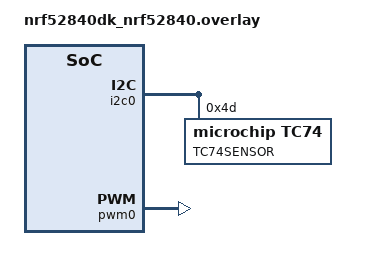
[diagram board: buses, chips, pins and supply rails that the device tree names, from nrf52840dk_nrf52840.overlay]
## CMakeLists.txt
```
cmake_minimum_required(VERSION 3.20.0)
find_package(Zephyr REQUIRED HINTS $ENV{ZEPHYR_BASE})

project(SETR_TRAB3)

target_sources(app PRIVATE
    src/main.c
    modules/tc74.c       # módulo I²C/TC74
    modules/rtdb.c       # módulo RTDB
    modules/pid.c
    modules/heater.c
    modules/uart.c
)
```

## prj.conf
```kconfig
CONFIG_GPIO=y
CONFIG_SERIAL=y
CONFIG_UART_ASYNC_API=y

# Para o TC74 / I²C
CONFIG_I2C=y
CONFIG_PRINTK=y


# Habilita o suporte a PWM
CONFIG_PWM=y
# Para teres o driver nRF PWM
CONFIG_PWM_NRFX=y

#para poder printar floats
CONFIG_NEWLIB_LIBC=y
CONFIG_NEWLIB_LIBC_FLOAT_PRINTF=y

# ----------------------------------------------------------------
# Activar o sistema de logging do Zephyr
CONFIG_LOG=y

# Nível de log por defeito:
#   0 = NONE, 1 = ERR, 2 = WRN, 3 = INF, 4 = DBG
CONFIG_LOG_DEFAULT_LEVEL=3

# Activar backend UART (imprime logs na consola série)
CONFIG_LOG_BACKEND_UART=y

# Activar cores ANSI para erros e avisos
CONFIG_LOG_BACKEND_SHOW_COLOR=y

#Ativar modo minimalista do log
#CONFIG_LOG_MODE_MINIMAL=y
# ----------------------------------------------------------------
```

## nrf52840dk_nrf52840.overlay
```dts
&i2c0 {
    status = "okay";
    pinctrl-0 = <&i2c0_default>;
    pinctrl-1 = <&i2c0_sleep>;
    pinctrl-names = "default", "sleep";

    /* Definição única do sensor; NÃO repetir fora deste bloco! */
    tc74sensor: tc74sensor@4d {
        compatible = "microchip,tc74";
        reg = <0x4d>;
        status = "okay";
        label = "TC74SENSOR";
    };
};

&pwm0 {
    status = "okay";

    /* define os dois states que o binding espera */
    pinctrl-0 = <&pwm0_default>;
    pinctrl-1 = <&pwm0_sleep>;
    pinctrl-names = "default", "sleep";
};

/*mudar o pin do pwm do 13(LED0) para o 10 (n tem nada lá ligado) */
&pwm0_default {
    phandle = < 0xd >;
    group1 {
        psels = < NRF_PSEL(PWM_OUT0, 0, 28) >;
        nordic,invert;
    };
};

/ {
    aliases {
        /* alias continua igual */
        heater-pwm = &pwm0;
    };
};
```

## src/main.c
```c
/** 
 * \file main.c
 * \brief This file contains code as well as the main program function and the threads necessary for the system.
 *
 *  In this file the nrf board drivers are initialized and programed, and the threads are set to ensue a good 
 * Real-time system.
 *
 * \author Simão Ribeiro
 * \author Celina Brito
 * \date 04/06/2025
 * \bug There are no known bugs.
 */

#include <zephyr/kernel.h>
#include <zephyr/device.h>
#include <zephyr/devicetree.h>
#include <zephyr/drivers/gpio.h>
#include <zephyr/drivers/uart.h>
#include <zephyr/sys/printk.h>
#include <zephyr/logging/log.h>
#include <stdlib.h>
#include <string.h>
/* our modules */
#include "../modules/tc74.h"
#include "../modules/rtdb.h"
#include "../modules/heater.h"
#include "../modules/pid.h"
#include "../modules/uart.h"


/* VARIABLES */
#define SLEEP_TIME_MS    1000    ///< Sleep Time
#define MAX_TEMP         120     ///< Absolute maximum temperature
#define OK               0       ///< Return if everything is alright
#define DELTAT           2       ///< Temperature tolerance
static bool table_flag = false;

/* UART RELATED VARIABLES */
#define UART_NODE              DT_NODELABEL(uart0)   ///< UART node ID
#define RBUFF_SIZE             60                    ///< Size of the reception buffer
#define RECEIVE_TIMEOUT        1000                  ///< Receive timeout
#define UART_SAMPLE_PERIOD_MS  15000                 ///< Sampling period, in miliseconds
#define UART_THREAD_STACK_SIZE 1024                  ///< Stack Size for the UART
#define UART_THREAD_PRIORITY   3                     ///< Thread Priority for UART

/* TC74 RELATED VARIABLES */
#define TC74_SAMPLE_PERIOD_MS  1000                  ///< Sampling period, in miliseconds
#define TC74_THREAD_PRIORITY   3                     ///< Thread Priority for TC74
#define TC74_THREAD_STACK_SIZE 512                  ///< Stack Size for the UART

/* TC74 RELATED VARIABLES */
#define PID_SAMPLE_PERIOD_MS  500                  ///< Sampling period, in miliseconds
#define PID_THREAD_PRIORITY   4                     ///< Thread Priority for the PID Controller
#define PID_THREAD_STACK_SIZE 512                  ///< Stack Size for the UART

/*UART Buffers*/
static uint8_t  rx_buff[RBUFF_SIZE];
static uint8_t  rx_buff2[RBUFF_SIZE];
static uint8_t  rx_msg[RBUFF_SIZE];
volatile int    uart_rxbuf_nchar = 0;             ///< Number of chars currently in the rx buffer
static const struct device *uart = DEVICE_DT_GET(UART_NODE);
bool buffer = true;                                ///< Which receive buffer is active

const struct uart_config uart_cfg = {
    .baudrate = 115200,
    .parity   = UART_CFG_PARITY_NONE,
    .stop_bits = UART_CFG_STOP_BITS_1,
    .data_bits = UART_CFG_DATA_BITS_8,
    .flow_ctrl = UART_CFG_FLOW_CTRL_NONE
};          ///< UART configuration struct


/*DEFINING MUTEXES AND THREADS*/
/** 
 * \brief function that defines the Uart Mutex
 * \param uart_mutex name for the mutex
 */ 
K_MUTEX_DEFINE(uart_mutex);
/**
 * \brief function that defines the Uart K_thread Stack
 * \param uart_stack name for the stack
 * \param UART_THREAD_STACK_SIZE size of the stack
 */ 
K_THREAD_STACK_DEFINE(uart_stack, UART_THREAD_STACK_SIZE);
static struct k_thread uart_thread_data;
static void uart_thread(void *arg1, void *arg2, void *arg3);

/* Threads for TC74 and PID control */

/** 
 * \brief function that defines the tc74 Mutex
 * \param tc74_mutex name for the mutex
 */ 
K_MUTEX_DEFINE(tc74_mutex);

/**
 * \brief function that defines the tc74 K_thread Stack
 * \param tc74_stack name for the stack
 * \param TC74_THREAD_STACK_SIZE size of the stack
 */ 
K_THREAD_STACK_DEFINE(tc74_stack, TC74_THREAD_STACK_SIZE);
static struct k_thread tc74_thread_data;
static void tc74_thread(void *arg1, void *arg2, void *arg3);

/** 
 * \brief function that defines the PID Mutex
 * \param uart_mutex name for the mutex
 */ 
K_MUTEX_DEFINE(pid_mutex);
/**
 * \brief function that defines the PID control K_thread Stack
 * \param control_stack name for the stack
 * \param PID_THREAD_STACK_SIZE size of the stack
 */ 
K_THREAD_STACK_DEFINE(control_stack, PID_THREAD_STACK_SIZE);
static struct k_thread control_data;
static void control_thread(void *arg1, void *arg2, void *arg3);

/* BUTTON SETUP*/
#define SW0_NODE DT_ALIAS(sw0)                     ///< Node ID for BUTTON 1        
#define SW1_NODE DT_ALIAS(sw1)                     ///< Node ID for BUTTON 2    
#define SW2_NODE DT_ALIAS(sw2)                     ///< Node ID for BUTTON 3    
#define SW3_NODE DT_ALIAS(sw3)                     ///< Node ID for BUTTON 4    
static const struct gpio_dt_spec button0 = GPIO_DT_SPEC_GET(SW0_NODE, gpios);
static const struct gpio_dt_spec button1 = GPIO_DT_SPEC_GET(SW1_NODE, gpios);
static const struct gpio_dt_spec button2 = GPIO_DT_SPEC_GET(SW2_NODE, gpios);
static const struct gpio_dt_spec button3 = GPIO_DT_SPEC_GET(SW3_NODE, gpios);

static struct gpio_callback button_cb_data0;
static struct gpio_callback button_cb_data1;
static struct gpio_callback button_cb_data2;
static struct gpio_callback button_cb_data3;

/*LED SETUP*/
#define LED0_NODE DT_ALIAS(led0)                     ///< Node ID for LED 1   
#define LED1_NODE DT_ALIAS(led1)                     ///< Node ID for LED 2   
#define LED2_NODE DT_ALIAS(led2)                     ///< Node ID for LED 3   
#define LED3_NODE DT_ALIAS(led3)                     ///< Node ID for LED 4   
static const struct gpio_dt_spec led0 = GPIO_DT_SPEC_GET(LED0_NODE, gpios);
static const struct gpio_dt_spec led1 = GPIO_DT_SPEC_GET(LED1_NODE, gpios);
static const struct gpio_dt_spec led2 = GPIO_DT_SPEC_GET(LED2_NODE, gpios);
static const struct gpio_dt_spec led3 = GPIO_DT_SPEC_GET(LED3_NODE, gpios);

/*Log error messages*/
LOG_MODULE_REGISTER(main, CONFIG_LOG_DEFAULT_LEVEL);

/*UART callback*/
static void uart_cb(const struct device *dev, struct uart_event *evt, void *user_data);

/* Button callbacks */
/**
 * @brief Function executed when the button 1 is pressed
 * 
 *  This function toggles the system state ON/OFF 
 */
void button_pressed0(const struct device *dev, struct gpio_callback *cb, uint32_t pins) {
    /*Checking system state*/
    if (rtdb_get_system_on()) {
        /*if ON turn off the heater and LED's, set system as off*/
        rtdb_set_system_on(false);
        heater_set_power(0);
        printk("System turned OFF\r\n");
        gpio_pin_set_dt(&led0,0);
        gpio_pin_set_dt(&led1,0);
        gpio_pin_set_dt(&led2,0);
        gpio_pin_set_dt(&led3,0);
        
        /*suspend the threads*/
        k_thread_suspend(&tc74_thread_data);
        k_thread_suspend(&uart_thread_data);
        k_thread_suspend(&control_data);

    } else {
        /*if OFF turn on the system and LED1*/
        rtdb_set_system_on(true);
        printk("System turned ON\r\n");
        gpio_pin_set_dt(&led0,1);

        /*resume the threads*/
        k_thread_resume(&tc74_thread_data);
        k_thread_resume(&uart_thread_data);
        k_thread_resume(&control_data);
    }
}

/**
 * @brief Function executed when the button 2 is pressed
 *
 *  This function increases the desired temperature 1ºC
 */
void button_pressed1(const struct device *dev, struct gpio_callback *cb, uint32_t pins) {
    if (rtdb_get_system_on()) {
        /*getting the setpoint and adding 1*/
        int16_t curr_sp = rtdb_get_setpoint() + 1;
        rtdb_set_setpoint(curr_sp);
        printk("Desired Temperature increased to %dºC\r\n", curr_sp);
    }
}

/**
 * @brief Function executed when the button 3 is pressed
 * 
 *  The button 3 is pressed to toggle the printing of the RTDB table,
*/
void button_pressed2(const struct device *dev, struct gpio_callback *cb, uint32_t pins) {
    if (rtdb_get_system_on()) {
        /*toggling the flag*/
        table_flag = !table_flag;
        printk(table_flag ? "RTDB Table ON\n" : "RTDB Table OFF\n");
    }
}

/**
 * @brief Function executed when the button 4 is pressed
 *
 *  This function decreases the desired temperature 1ºC
 */
void button_pressed3(const struct device *dev, struct gpio_callback *cb, uint32_t pins) {
    if (rtdb_get_system_on()) {
        /*getting the setpoint and removing 1*/
        int16_t curr_sp = rtdb_get_setpoint() - 1;
        rtdb_set_setpoint(curr_sp);
        printk("Desired Temperature decreased to %dºC\r\n", curr_sp);
    }
}

int main(void)
{
    /*Initializing the modules*/
    int ret;
    rtdb_init();
    ret = tc74_init();
    if (ret) { 
        printk("Erro ao inicializar TC74 (%d)\n", ret); 
        return ret; 
    }

    ret = heater_init();
    if (ret) {
         printk("Erro ao inicializar heater PWM (%d)\n", ret); 
         return ret; 
    }

    /*Initializing the UART*/
    if (!device_is_ready(uart)) { 
        printk("UART device not ready\n"); 
        return 1; 
    }

    ret = uart_configure(uart, &uart_cfg);
    if (ret == -ENOSYS) { 
        printk("uart_configure() error. Invalid configuration\n"); 
        return -1; 
    }

    uart_callback_set(uart, uart_cb, NULL);
    /*Enabling UART reception*/
    uart_rx_enable(uart, rx_buff, sizeof(rx_buff), RECEIVE_TIMEOUT);

    /* LEDs init */
    gpio_pin_configure_dt(&led0, GPIO_OUTPUT_INACTIVE);
    gpio_pin_configure_dt(&led1, GPIO_OUTPUT_INACTIVE);
    gpio_pin_configure_dt(&led2, GPIO_OUTPUT_INACTIVE);
    gpio_pin_configure_dt(&led3, GPIO_OUTPUT_INACTIVE);
    
    /* Buttons init */
    gpio_pin_configure_dt(&button0, GPIO_INPUT);
    gpio_pin_configure_dt(&button1, GPIO_INPUT);
    gpio_pin_configure_dt(&button2, GPIO_INPUT);
    gpio_pin_configure_dt(&button3, GPIO_INPUT);
    gpio_init_callback(&button_cb_data0, button_pressed0, BIT(button0.pin));
    gpio_add_callback(button0.port, &button_cb_data0);
    gpio_pin_interrupt_configure_dt(&button0, GPIO_INT_EDGE_TO_ACTIVE);
    gpio_init_callback(&button_cb_data1, button_pressed1, BIT(button1.pin));
    gpio_add_callback(button1.port, &button_cb_data1);
    gpio_pin_interrupt_configure_dt(&button1, GPIO_INT_EDGE_TO_ACTIVE);
    gpio_init_callback(&button_cb_data2, button_pressed2, BIT(button2.pin));
    gpio_add_callback(button2.port, &button_cb_data2);
    gpio_pin_interrupt_configure_dt(&button2, GPIO_INT_EDGE_TO_ACTIVE);
    gpio_init_callback(&button_cb_data3, button_pressed3, BIT(button3.pin));
    gpio_add_callback(button3.port, &button_cb_data3);
    gpio_pin_interrupt_configure_dt(&button3, GPIO_INT_EDGE_TO_ACTIVE);

    /* Create threads */
    k_thread_create(&tc74_thread_data, tc74_stack, K_THREAD_STACK_SIZEOF(tc74_stack), tc74_thread, NULL, NULL, NULL, TC74_THREAD_PRIORITY, 0, K_NO_WAIT);
    k_thread_create(&control_data, control_stack, K_THREAD_STACK_SIZEOF(control_stack), control_thread, NULL, NULL, NULL, PID_THREAD_PRIORITY, 0, K_NO_WAIT);
    k_thread_create(&uart_thread_data, uart_stack, K_THREAD_STACK_SIZEOF(uart_stack), uart_thread, NULL, NULL, NULL, UART_THREAD_PRIORITY, 0, K_NO_WAIT);
    
    /* Suspend until ON */
    k_thread_suspend(&tc74_thread_data);
    k_thread_suspend(&control_data);
    k_thread_suspend(&uart_thread_data);

    printk("SYSTEM START\n");
    while (1) {
        if (rtdb_get_system_on() && table_flag) {
             rtdb_print();
        }
        k_msleep(SLEEP_TIME_MS);
    }
    return 0;
}

/*HEAT SENSOR THREAD*/
static void tc74_thread(void *unused1, void *unused2, void *unused3)
{
    uint8_t temp; int ret;
    while (1) {
        /*locking the mutex*/
        k_mutex_lock(&tc74_mutex, K_FOREVER);

        /*getting the sensor temperature*/
        ret = tc74_read(&temp);

        if (ret == 0) {
            /*If the sensor got a temperature value change its value on the RTDB*/
            rtdb_set_cur_temp(temp);

            /*checking the boundaries*/
            if (temp > rtdb_get_maxtemp()) {
                /*If it goes over the max temperature the system turns off and the flag tuns on*/
                rtdb_set_error_flag(true);
                rtdb_set_system_on(false);
                heater_set_power(0);
                LOG_ERR("temperatura %d°C excede maxTemp = %d°C, heater OFF", temp, rtdb_get_maxtemp());
            } else if (!rtdb_get_system_on() && temp < (rtdb_get_maxtemp() - 4)) {
                /*waits until its 4 degrees above the max to turn on again*/
                rtdb_set_error_flag(false);
                rtdb_set_system_on(true);
                LOG_WRN("temperatura %d°C segura, sistema auto-religa", temp);
            }
            int setp = rtdb_get_setpoint();
            printk("TC74-Thread: Temperatura = %d C ; Desejada = %d \n", temp, setp);
            /*Lighting up the correct LEDs*/
            if (temp > setp + DELTAT) { 
                gpio_pin_set_dt(&led1,0);
                gpio_pin_set_dt(&led2,0);
                gpio_pin_set_dt(&led3,1); 
            } else if (temp < setp - DELTAT) {
                gpio_pin_set_dt(&led1,0); 
                gpio_pin_set_dt(&led2,1); 
                gpio_pin_set_dt(&led3,0); 
            }else { 
                gpio_pin_set_dt(&led1,1); 
                gpio_pin_set_dt(&led2,0); 
                gpio_pin_set_dt(&led3,0); 
            }
        } else {
            rtdb_set_error_flag(true); 
            printk("TC74-Thread: erro na leitura (%d)\n", ret); 
        }

        /*unlocking the mutex*/
        k_mutex_unlock(&tc74_mutex);

        k_msleep(TC74_SAMPLE_PERIOD_MS);
    }
}

/*PID CONTROLLER THREAD*/
static void control_thread(void *a, void *b, void *c)
{
    static pid_data_t pid;
    rtdb_pid gpid = rtdb_get_pid();
    /*initializing the pid controller*/
    pid_init(&pid, gpid.Kp, gpid.Ti, gpid.Td);
   
    while (1) {
        /*locking the mutex*/
        k_mutex_lock(&pid_mutex, K_FOREVER);

        
        if (!rtdb_get_system_on()) {
            /*if system off turn of the power*/
            heater_set_power(0);
        }else {
            /*if system on set the power to the computed one*/
            int16_t sp = rtdb_get_setpoint(); uint8_t ct = rtdb_get_cur_temp();
            float u = pid_compute(&pid, sp, (float)ct, 500 / 1000.0f);
            heater_set_power((uint8_t)u);
        }
        
        /*unlocking the mutex*/
        k_mutex_unlock(&pid_mutex);
        k_msleep(PID_SAMPLE_PERIOD_MS);
    }
}

/*UART THREAD*/
static void uart_thread(void *arg1, void *arg2, void *arg3)
{
    /* check if it turns on */
    printk(">> UART thread arrancou – system_on=%d, initial_chars=%d\n",
           rtdb_get_system_on(), uart_rxbuf_nchar);

    while (1) {
        
        printk("\nUART-Thread: ciclo, chars_recebidos = %d\n", uart_rxbuf_nchar);

        /*locking te uart mutex*/
        k_mutex_lock(&uart_mutex, K_FOREVER);
        if (uart_rxbuf_nchar > 0) {
            /* processes teh received information */
            int ret = uart_process();
            printk("uart_thread: uart_process() retorno = %d\n", ret);
            
            /* Resets the buffer counter to the next message*/
            uart_rxbuf_nchar = 0;
        }

        /*unlocking the uart mutex*/
        k_mutex_unlock(&uart_mutex);

        /* Aguarda antes do próximo ciclo */
        k_msleep(UART_SAMPLE_PERIOD_MS);
    }
}

/*uart calback function*/
static void uart_cb(const struct device *dev, struct uart_event *evt, void *user_data)
{
    /*checks the UART state*/
    switch (evt->type)
    {
    case UART_RX_RDY:
        /*if ready sends the character to the msg buffer*/
        memcpy(&rx_msg[uart_rxbuf_nchar], &evt->data.rx.buf[evt->data.rx.offset], evt->data.rx.len);
        uart_rxbuf_nchar += evt->data.rx.len;
        break;
    case UART_RX_BUF_REQUEST:
        /*If the buffer is full it changes buffer*/
        uart_rx_buf_rsp(uart, buffer ? rx_buff : rx_buff2, RBUFF_SIZE);
        buffer = !buffer;
        break;
    case UART_RX_DISABLED:
        /*Disabled message*/
        uart_rx_enable(uart, rx_buff, sizeof(rx_buff), RECEIVE_TIMEOUT);
        break;
    default:
        break;
    }
}


/**
 * \brief function where the Uart commands are processed
 */
int uart_process(void)
{
    /* Build frame */
    char frame[RBUFF_SIZE+1];
    memcpy(frame, rx_msg, uart_rxbuf_nchar);
    frame[uart_rxbuf_nchar] = '\0';
    /* Process command */
    char reply[RBUFF_SIZE];
    int result = process_uart_command(frame, reply);
    /* Send reply */
    uart_tx(uart, (const uint8_t *)reply, strlen(reply), SYS_FOREVER_US);
    printk("UART reply: %s\n\n--------\n", reply);

    return result;
}
```

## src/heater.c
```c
/** 
 * \file heater.c
 * \brief This file contains the implementation of the functions implemented in heater.h.
 *
 *
 * \author Simão Ribeiro
 * \author Celina Brito
 * \date 04/06/2025
 * \bug There are no known bugs.
 */
#include <zephyr/kernel.h>
#include <zephyr/sys/printk.h>
#include <zephyr/device.h>
#include <zephyr/devicetree.h>
#include <zephyr/drivers/pwm.h>
#include "heater.h"

/* O nó pwm0 deve estar ativo no overlay */
#define HEATER_PWM_NODE     DT_NODELABEL(pwm0)
#define HEATER_PWM_CHANNEL  0U

/* 1 kHz → 1 ms = 1 000 000 ns */
#define HEATER_PWM_PERIOD_NS 1000000U

/* Obter o device a partir do Devicetree */
static const struct device *heater_pwm_dev = DEVICE_DT_GET(HEATER_PWM_NODE);

int heater_init(void)
{
    if (!device_is_ready(heater_pwm_dev)) {
        printk("Erro: PWM device '%s' não está pronto\n",
               heater_pwm_dev->name);
        return -ENODEV;
    }
    return 0;
}

void heater_set_power(uint8_t percent)
{
    if (percent > 100U) {
        percent = 100U;
    }

    printk("PWM duty = %u%%\n", percent);

    uint32_t pulse_ns = (HEATER_PWM_PERIOD_NS * percent) / 100U;

    int ret = pwm_set(heater_pwm_dev,
                      HEATER_PWM_CHANNEL,
                      HEATER_PWM_PERIOD_NS,
                      pulse_ns,
                      PWM_POLARITY_NORMAL);
    if (ret < 0) {
        printk("Erro a definir PWM (canal %u): %d\n",
               HEATER_PWM_CHANNEL, ret);
    }
}
```

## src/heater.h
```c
/** 
 * \file heater.h
 * \brief This file contains the defines and functions needed for the Heater related functions.
 * 
 * The heating system works together with the <i>heater.h</i> module to set the percentual power sent to the 
 * heating system through the PWM node.
 *
 * \author Simão Ribeiro
 * \author Celina Brito
 * \date 04/06/2025
 * \bug There are no known bugs.
 */
#ifndef HEATER_H
#define HEATER_H

#include <zephyr/types.h>

/**
 * @brief Initializes the heater driver (PWM).
 *
 * Must be called one time in the begining; returns <0 in case of error.
 *
 * @return  0 in success
 * @return <0  Zephyr error code (e.g. -ENODEV)
 */
int heater_init(void);

/**
 * @brief Adjusts the heater power in percentage (0–100%).
 *
 * @param percent Duty-cycle in percentage: 0 = turned off, 100 = full on.
 */
void heater_set_power(uint8_t percent);

#endif /* HEATER_H */
```

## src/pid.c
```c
/** 
 * \file pid.c
 * \brief This file contains the implementation of the functions implemented in pid.h.
 *
 * \author Simão Ribeiro
 * \author Celina Brito
 * \date 04/06/2025
 * \bug There are no known bugs.
 */
#include "pid.h"

void pid_init(pid_data_t *pid, float Kp, float Ti, float Td)
{
    pid->Kp = Kp;
    pid->Ti = Ti;
    pid->Td = Td;
    pid->integral = 0.0f;
    pid->prev_error = 0.0f;
}

float pid_compute(pid_data_t *pid, int16_t setp, float meas, float dt_s)
{
    if (dt_s <= 0.0f) {
        return 0.0f;
    }

    float error = (float)setp - meas;

    /* Termo Integral com anti-windup */
    if (pid->Ti > 0.0f) {
        pid->integral += error * dt_s;
        /* Saturação da integral para evitar windup */
        float max_int = 100.0f * pid->Ti;
        if (pid->integral > max_int) {
            pid->integral = max_int;
        } else if (pid->integral < -max_int) {
            pid->integral = -max_int;
        }
    }

    /* Termo Derivativo */
    float deriv = 0.0f;
    if (pid->Td > 0.0f) {
        deriv = (error - pid->prev_error) / dt_s;
    }
    pid->prev_error = error;

    /* Saída PID antes de saturação */
    float output = pid->Kp * error;
    if (pid->Ti > 0.0f) {
        output += pid->integral / pid->Ti;
    }
    if (pid->Td > 0.0f) {
        output += pid->Td * deriv;
    }

    /* Saturar saída entre 0 e 100% */
    if (output > 100.0f) {
        output = 100.0f;
    } else if (output < 0.0f) {
        output = 0.0f;
    }

    return output;
}
```

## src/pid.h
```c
/** 
 * \file pid.h
 * \brief This file contains the defines and functions needed for the PID related functions.
 *
 *  This module computes the PID (proportional–integral–derivative) controller.
 * 
 * \author Simão Ribeiro
 * \author Celina Brito
 * \date 04/06/2025
 * \bug There are no known bugs.
 */
#ifndef PID_H
#define PID_H

#include <zephyr/types.h>

/**
 * @brief PID controller data structure.
 */
typedef struct {
    float Kp;        ///< Proportional Gain
    float Ti;        ///< Integral Term (s); if zero, integral inative */
    float Td;        ///< Derivative Term (s); if zero, derivative inative */
    float integral;  ///< Accumulated Integral Sum */
    float prev_error;///< Previous Iteration Error */
} pid_data_t;

/**
 * @brief Initializes the PID controller.
 *
 * @param pid   Pointer to the pid_data_t struct
 * @param Kp    Proportional gain
 * @param Ti    Integral Term in seconds (>=0)
 * @param Td    Derivative Term in seconds (>=0)
 */
void pid_init(pid_data_t *pid, float Kp, float Ti, float Td);

/**
 * @brief Computes the PID controller output.
 *
 * @param pid    Pointer to the pid_data_t struct
 * @param setp   Desired Setpoint (°C)
 * @param meas   Actual Value (°C)
 * @param dt_s   Time since the last call (s)
 * @return       Control Output (%) between 0 and 100
 */
float pid_compute(pid_data_t *pid, int16_t setp, float meas, float dt_s);

#endif /* PID_H */
```

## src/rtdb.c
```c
/** 
 * \file rtdb.c
 * \brief This file contains the implementation and variables of the functions implemented in rtdb.h.
 *
 * \author Simão Ribeiro
 * \author Celina Brito
 * \date 04/06/2025
 * \bug There are no known bugs.
 */
#include "rtdb.h"
#include <zephyr/kernel.h>

/* Mutex que protege todas as variáveis da RTDB */
static struct k_mutex rtdb_mutex;



/* Variáveis partilhadas da RTDB */
static uint8_t  cur_temp   = 0;
static bool     error_flag = false;
static int16_t  setpoint   = 35;   /* Default = 40°C */
static bool     system_on  = false; /* Sistema desligado por defeito */
static uint8_t  max_temp   = 90;  
static rtdb_pid PID;

void rtdb_init(void)
{
    k_mutex_init(&rtdb_mutex);
    cur_temp   = 0;
    error_flag = false;
    setpoint   = 35;
    system_on  = false;
    max_temp   = 90;
    PID.Kp= 3.0f;
    PID.Ti=30.0f;
    PID.Td=0.0f;  
}

void rtdb_set_cur_temp(uint8_t t)
{
    k_mutex_lock(&rtdb_mutex, K_FOREVER);
    cur_temp = t;
    k_mutex_unlock(&rtdb_mutex);
}

uint8_t rtdb_get_cur_temp(void)
{
    uint8_t t;
    k_mutex_lock(&rtdb_mutex, K_FOREVER);
    t = cur_temp;
    k_mutex_unlock(&rtdb_mutex);
    return t;
}

void rtdb_set_error_flag(bool err)
{
    k_mutex_lock(&rtdb_mutex, K_FOREVER);
    error_flag = err;
    k_mutex_unlock(&rtdb_mutex);
}

bool rtdb_get_error_flag(void)
{
    bool e;
    k_mutex_lock(&rtdb_mutex, K_FOREVER);
    e = error_flag;
    k_mutex_unlock(&rtdb_mutex);
    return e;
}

void rtdb_set_setpoint(int16_t sp)
{
    k_mutex_lock(&rtdb_mutex, K_FOREVER);
    setpoint = sp;
    k_mutex_unlock(&rtdb_mutex);
}

int16_t rtdb_get_setpoint(void)
{
    int16_t v;
    k_mutex_lock(&rtdb_mutex, K_FOREVER);
    v = setpoint;
    k_mutex_unlock(&rtdb_mutex);
    return v;
}

void rtdb_set_maxtemp(uint8_t mt)
{
    k_mutex_lock(&rtdb_mutex, K_FOREVER);
    max_temp = mt;
    k_mutex_unlock(&rtdb_mutex);
}

int16_t rtdb_get_maxtemp(void)
{
    int16_t v;
    k_mutex_lock(&rtdb_mutex, K_FOREVER);
    v = max_temp;
    k_mutex_unlock(&rtdb_mutex);
    return v;
}

void rtdb_set_system_on(bool on)
{
    k_mutex_lock(&rtdb_mutex, K_FOREVER);
    system_on = on;
    k_mutex_unlock(&rtdb_mutex);
}

bool rtdb_get_system_on(void)
{
    bool v;
    k_mutex_lock(&rtdb_mutex, K_FOREVER);
    v = system_on;
    k_mutex_unlock(&rtdb_mutex);
    return v;
}

void rtdb_set_pid(float kp,float ti,float td){

    k_mutex_lock(&rtdb_mutex, K_FOREVER);
    PID.Kp= kp;
    PID.Ti =ti;
    PID.Td =td;
    k_mutex_unlock(&rtdb_mutex);
}


rtdb_pid rtdb_get_pid(){
    rtdb_pid v;
    k_mutex_lock(&rtdb_mutex, K_FOREVER);
    v.Kp = PID.Kp;
    v.Td = PID.Td;
    v.Ti = PID.Ti;
    k_mutex_unlock(&rtdb_mutex);
    return v;
}


void rtdb_print(){
    k_mutex_lock(&rtdb_mutex, K_FOREVER);
    printk("__________________________________\n|       VARIABLE         | VALUE |\n");
    printk("|   Current temperature  |%4d   |\n",cur_temp);           
    printk("|        Set Point       |%4d   |\n",setpoint);               
    printk("|     Max Temperature    | %4d  |\n",max_temp);                
    printf("|            Kp          |  %3.1f  |\n",PID.Kp);               
    printf("|            Ti          |  %3.1f |\n",PID.Ti);               
    printf("|            Td          |  %3.1f  |\n",PID.Td);               
    printk("|        Error Flag      |%4d   |\n",error_flag);     
    printk("|      System State      |");
    if(system_on == true){
        printk("  on   |\n");              
    }else{
        printk("  off  |\n");              
    }
    printk("\\________________________________/\n");

    k_mutex_unlock(&rtdb_mutex);
}
```

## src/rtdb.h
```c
/** 
 * \file rtdb.h
 * \brief This file contains the defines and functions needed for the RTDB related functions.
 *
 * The Real-Time Database contains has the values required to run the program.
 * These values are stored so that the internal real-time tasks can be
 *  it synchronized with the I/O interfaces.
 * 
 * Values stored:
 *      <ul>
            <li><i>Current temperature:</i> Current temperature being mesured by the heat sensor; </li>
            <li><i>Current setpoint:</i> Temperature setpoint, default is 35ºC; </li>
            <li><i>Max temperature</i> Max allowed temperature, if the system reaches this temperature an error will be issued, default is 100ºC </li>
            <li><i>Error flag</i> If theres an error flag on. </li>
            <li><i>System State</i> Tells if the system is on or off. </li>
        </ul>
 * 
 * 
 * \author Simão Ribeiro
 * \author Celina Brito
 * \date 04/06/2025
 * \bug There are no known bugs.
 */
#ifndef RTDB_H
#define RTDB_H

#include <zephyr/types.h>
#include <stdbool.h>

typedef struct {
    float Kp;        ///< Proportional Gain
    float Ti;        ///< Integral Term (s); if zero, integral inative */
    float Td;        ///< Derivative Term (s); if zero, derivative inative */
} rtdb_pid;

/**
 * @brief Initializes the RTDB.
 *
 * Must be called in main() before using getters/setters.
 */
void rtdb_init(void);

/**
 * @brief Updates the current temperature in the RTDB.
 *
 * @param t Value read from the TC74 sensor in °C.
 */
void rtdb_set_cur_temp(uint8_t t);

/**
 * @brief Returns the current temperature in the RTDB.
 *
 * @return Current temperature (°C).
 */
uint8_t rtdb_get_cur_temp(void);

/**
 * @brief Signalizes an error in the TC74.
 *
 * @param err True if an error occured, false to clean the flag.
 */
void rtdb_set_error_flag(bool err);

/**
 * @brief Reads the error flag.
 *
 * @return true if error, false if theres no error.
 */
bool rtdb_get_error_flag(void);

// PWM

/**
 * @brief Defines the desired setpoint (°C).
 * 
 * @param sp Desired setpoint
 */
void    rtdb_set_setpoint(int16_t sp);

/**
 * @brief Returns the current setpoint (°C).
 * 
 * \return Current setpoint
 */
int16_t rtdb_get_setpoint(void);

/**
 * @brief Defines the max temperature (°C).
 * 
 * \param mt max temperature.
 */
void rtdb_set_maxtemp(uint8_t mt);

/**
 * @brief Returns the current max temperature (°C).
 * 
 * \return Current max temperature. 
 */
int16_t rtdb_get_maxtemp(void);

/**
 * @brief  Turns the system ON/OFF.
 * \param on on to turn on, off to turn off
 */
void rtdb_set_system_on(bool on);

/**
 * @brief Returns the system state.
 * \return on if system in on, off is system is off.
 */
bool    rtdb_get_system_on(void);



void rtdb_set_pid(float kp,float ti,float td);


rtdb_pid rtdb_get_pid();

void rtdb_print();

#endif /* RTDB_H */
```

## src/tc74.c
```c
/** 
 * \file tc74.c
 * \brief This file contains the implementation of the functions implemented in tc74.h.
 *
 * \author Simão Ribeiro
 * \author Celina Brito
 * \date 04/06/2025
 * \bug There are no known bugs.
 */
#include "tc74.h"
#include <zephyr/sys/printk.h>

/* O nó no devicetree (nomeado no overlay) chama-se “tc74sensor” */
static const struct i2c_dt_spec dev = I2C_DT_SPEC_GET(DT_NODELABEL(tc74sensor));

int tc74_init(void)
{
    if (!device_is_ready(dev.bus)) {
        printk("TC74: I2C bus %s not ready\n", dev.bus->name);
        return -ENODEV;
    }
    /* devolve sempre sucesso para prosseguir à leitura */
    return 0;
}


int tc74_read(uint8_t *out_temp)
{
    int ret = i2c_read_dt(&dev, out_temp, 1);
    if (ret) {
        printk("TC74: read failed (%d)\n", ret);
    }
    return ret;
}
```

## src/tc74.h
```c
/**
 * @file tc74.h
 * @brief I²C Interface to the TC47 temperature Sensor
 *
 * This module has the functions to initialize the TC74 sensor,
 * read the temperature through the I²C bus, using the Zephyr DeviceTree
 */

#ifndef TC74_H
#define TC74_H

#include <zephyr/drivers/i2c.h>

/**
 * @def TC74_CMD_RTR
 * @brief Internal TC47 register with the actual temperature.
 *
 * Must be sent before the readinf to set the reading pointer in 
 * the temperature register.
 */
#define TC74_CMD_RTR  0x00

/**
 * @def TC74_CMD_RWCR
 * @brief TC47 configuration register.
 *
 * Allows reading or writing the sensor's configuration register.
 */
#define TC74_CMD_RWCR 0x01

#ifdef __cplusplus
extern "C" {
#endif

/**
 * @brief Initialises the TC74 sensor.
 *
 * Checks if the I²C bus is ready to communication and send the command
 * @p TC74_CMD_RTR  to assure that the reading pointer is in the temperature 
 * register.
 *
 * @return 0 if success, negative value (<0) in error.
 */
int tc74_init(void);

/**
 * @brief Reads the current TC74 sensor temperature.
 *
 * Executes the reading of 1 byte from the temperature register and 
 * converts it directly to Celsius Degrees (integer value).
 *
 * @param[out] out_temp Pointer to the variable where the read temperature (°C)
 *                      will be stored.
 * @return 0 if success, negative value (<0) in error.
 */
int tc74_read(uint8_t *out_temp);

#ifdef __cplusplus
}
#endif

#endif /* TC74_H */
```

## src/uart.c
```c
/** 
 * \file uart.c
 * \brief This file contains the implementation of the functions implemented in uart.h.
 *
 * \author Simão Ribeiro
 * \author Celina Brito
 * \date 04/06/2025
 * \bug There are no known bugs.
 */
#include <stdio.h>
#include <string.h>
#include <math.h> 
#include "uart.h"

#include <zephyr/drivers/uart.h>

int calcChecksum(unsigned char * buf, int nbytes) {
	unsigned int sum = 0 ;
	
	for(unsigned char* i = buf ; i < (buf+nbytes);i++ ){
		sum += (unsigned int)(*i);
	}
	return (sum%256);		
}

void num2char(unsigned char *array, int num){
    int i = 0;
	int len=3;

	while (i < len) {
		*(array + len-i-1) = (num % 10) + '0';
		num /= 10;
		i++;
	} 
	    
}

unsigned int char2num(unsigned char ascii [], int length){
	int i = 0, sum = 0, mult = pow(10,length-1);
	int x;
	
	while(i < length){
		x= (ascii[i]-'0') *mult ;

	  	sum += x;
		mult/=10;
	  	i++;
	}
	return sum;
}


float char2float(unsigned char ascii []){
	int i = 0, sum_1 = 0, mult = 10;
	int x;
	while(i < 2){
		x= (ascii[i]-'0') *mult ;

	  	sum_1 += x;
		mult/=10;
	  	i++;
	}
	/*skipping the point*/
	i++;
	x=(ascii[i]-'0');
	float x2=(float)x;
	float sum=(float)sum_1+x2/10;

	return sum;
}
```

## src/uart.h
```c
/** 
 * \file uart.h
 * \brief This file contains the defines and functions needed for the UART related functions.
 *
 *
 * \author Simão Ribeiro
 * \author Celina Brito
 * \date 04/06/2025
 * \bug There are no known bugs.
 */
#ifndef UART_H
#define UART_H

#define SOF_SYM '#'	        ///< Start of Frame Symbol
#define EOF_SYM '!'         ///< End of Frame Symbol 
#define EOF_ERROR -1        ///< Return if there's and End-of-File Error
#define SOF_ERROR -2        ///< Return if there's and Start-of-File Error
#define CHECKSUM_ERROR -3   ///< Return if the checksum is wrong
#define ERROR_TOO_HOT -4    ///< Return if the set max temperature is too high
#define COMMAND_ERROR -5    ///< Return if the command does not exist
#define FATAL_ERROR -6      ///< Return if there's another error


/**
  * \brief Computes the checksum of a given number of chars.
  * \param buf pointer to the buffer
  * \param nbytes number of bytes to check
  */
int calcChecksum(unsigned char * buf, int nbytes); 

 /**
  * \brief Converts an integer to a ASCII
  * \param array pointer to where the converted chars will be stored
  * \param num the integer to be converted
  * \param type 't' for temperature, 'h' for humidity, 'c' for c02 or checksum
  */
 void num2char(unsigned char *array, int num);

 /**
  * \brief Converts ASCII to int
  * \param ascii pointer to where the converted chars are stored
  * \param length number of characters in the ascii code
  * \return Returns the int corresponding to the character array
  */
unsigned int char2num(unsigned char ascii [], int length);

/**
  * \brief Converts ASCII to float
  * 
  *   The ASCII parameter has to be in xx.x format
  * \param ascii pointer to where the converted chars are stored
  * \return Returns the float corresponding to the character array
  */
float char2float(unsigned char ascii []);


#endif
```
